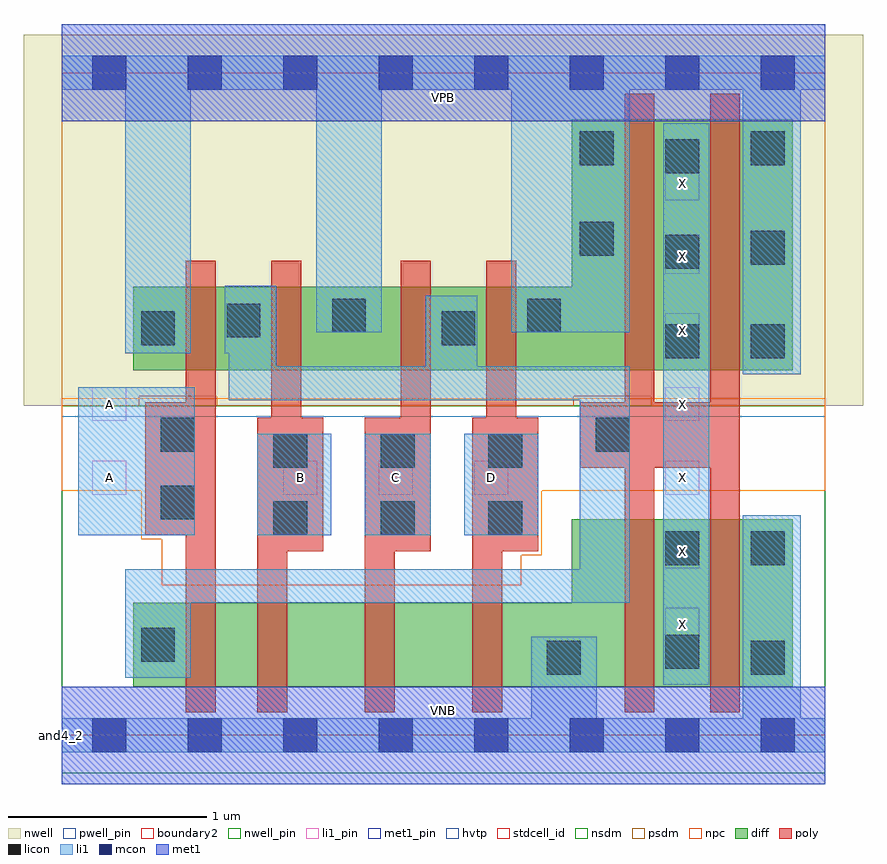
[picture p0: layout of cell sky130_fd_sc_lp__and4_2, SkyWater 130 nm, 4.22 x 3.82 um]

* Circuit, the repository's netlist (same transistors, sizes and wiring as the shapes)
* Copyright 2020 The SkyWater PDK Authors
*
* Licensed under the Apache License, Version 2.0 (the "License");
* you may not use this file except in compliance with the License.
* You may obtain a copy of the License at
*
*     https://www.apache.org/licenses/LICENSE-2.0
*
* Unless required by applicable law or agreed to in writing, software
* distributed under the License is distributed on an "AS IS" BASIS,
* WITHOUT WARRANTIES OR CONDITIONS OF ANY KIND, either express or implied.
* See the License for the specific language governing permissions and
* limitations under the License.
*
* SPDX-License-Identifier: Apache-2.0

.SUBCKT sky130_fd_sc_lp__and4_2 A B C D VGND VNB VPB VPWR X
*.PININFO A:I B:I C:I D:I VGND:I VNB:I VPB:I VPWR:I X:O
MMP0 y A VPWR VPB sky130_fd_pr__pfet_01v8_hvt m=1 w=0.42U l=0.15U mult=1 sa=0.265
+ sb=0.265 sd=0.28 area=0.063 perim=1.14
MMP1 y B VPWR VPB sky130_fd_pr__pfet_01v8_hvt m=1 w=0.42U l=0.15U mult=1 sa=0.265
+ sb=0.265 sd=0.28 area=0.063 perim=1.14
MMP2 y C VPWR VPB sky130_fd_pr__pfet_01v8_hvt m=1 w=0.42U l=0.15U mult=1 sa=0.265
+ sb=0.265 sd=0.28 area=0.063 perim=1.14
MMP3 y D VPWR VPB sky130_fd_pr__pfet_01v8_hvt m=1 w=0.42U l=0.15U mult=1 sa=0.265
+ sb=0.265 sd=0.28 area=0.063 perim=1.14
MMIP0 X y VPWR VPB sky130_fd_pr__pfet_01v8_hvt m=2 w=1.26U l=0.15U mult=1 sa=0.265
+ sb=0.265 sd=0.28 area=0.063 perim=1.14
MMN0 y A sndA VNB sky130_fd_pr__nfet_01v8 m=1 w=0.42U l=0.15U mult=1 sa=0.265 sb=0.265
+ sd=0.28 area=0.063 perim=1.14
MMN1 sndA B sndB VNB sky130_fd_pr__nfet_01v8 m=1 w=0.42U l=0.15U mult=1 sa=0.265
+ sb=0.265 sd=0.28 area=0.063 perim=1.14
MMN2 sndB C sndC VNB sky130_fd_pr__nfet_01v8 m=1 w=0.42U l=0.15U mult=1 sa=0.265
+ sb=0.265 sd=0.28 area=0.063 perim=1.14
MMN3 sndC D VGND VNB sky130_fd_pr__nfet_01v8 m=1 w=0.42U l=0.15U mult=1 sa=0.265
+ sb=0.265 sd=0.28 area=0.063 perim=1.14
MMIN0 X y VGND VNB sky130_fd_pr__nfet_01v8 m=2 w=0.84U l=0.15U mult=1 sa=0.265
+ sb=0.265 sd=0.28 area=0.063 perim=1.14
.ENDS sky130_fd_sc_lp__and4_2

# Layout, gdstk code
import gdstk
lib = gdstk.Library(unit=1e-6, precision=1e-09)
def R(c, l, rs):  # rectangles x0, y0, x1, y1
    for r in rs: c.add(gdstk.rectangle(r[:2], r[2:], *l))
def A(c, l, x, y, w, h, nx, ny, dx, dy):  # array of equal rectangles
    R(c, l, [(x+i*dx, y+j*dy, x+i*dx+w, y+j*dy+h) for i in range(nx) for j in range(ny)])
def P(c, l, *ps):  # polygons
    for p in ps: c.add(gdstk.Polygon(p, *l))
nwell_pin = (64, 16)
nwell = (64, 20)
diff = (65, 20)
poly = (66, 20)
licon = (66, 44)
li1_pin = (67, 16)
li1 = (67, 20)
mcon = (67, 44)
met1_pin = (68, 16)
met1 = (68, 20)
hvtp = (78, 44)
stdcell_id = (81, 4)
nsdm = (93, 44)
psdm = (94, 20)
npc = (95, 20)
pwell_pin = (122, 16)
boundary2 = (236, 0)

sky130_fd_sc_lp__and4_2 = lib.new_cell('sky130_fd_sc_lp__and4_2')
R(sky130_fd_sc_lp__and4_2, nwell_pin, [(0,3.085,3.84,3.33)])
R(sky130_fd_sc_lp__and4_2, nwell, [(-0.19,1.655,4.03,3.52)])
P(sky130_fd_sc_lp__and4_2, diff, [(3.675,3.095),(2.565,3.095),(2.565,2.255),(0.36,2.255),(0.36,1.835),(3.675,1.835)],
  [(3.675,1.085),(2.565,1.085),(2.565,0.665),(0.36,0.665),(0.36,0.245),(3.675,0.245)])
P(sky130_fd_sc_lp__and4_2, poly, [(0.775,2.385),(0.625,2.385),(0.625,1.675),(0.42,1.675),(0.42,1.005),(0.625,1.005),(0.625,0.115),(0.775,0.115)],
  [(1.315,1.595),(1.205,1.595),(1.205,2.385),(1.055,2.385),(1.055,1.595),(0.985,1.595),(0.985,0.115),(1.135,0.115),(1.135,0.925),(1.315,0.925)],
  [(1.855,2.385),(1.705,2.385),(1.705,1.595),(1.525,1.595),(1.525,0.115),(1.675,0.115),(1.675,0.925),(1.855,0.925)],
  [(2.395,1.595),(2.285,1.595),(2.285,2.385),(2.135,2.385),(2.135,1.595),(2.065,1.595),(2.065,0.115),(2.215,0.115),(2.215,0.925),(2.395,0.925)],
  [(3.41,3.225),(3.26,3.225),(3.26,1.675),(2.98,1.675),(2.98,3.225),(2.83,3.225),(2.83,1.675),(2.605,1.675),(2.605,1.345),(2.83,1.345),(2.83,0.115),(2.98,0.115),(2.98,1.345),(3.26,1.345),(3.26,0.115),(3.41,0.115)])
A(sky130_fd_sc_lp__and4_2, licon, 1.065, 1.005, 0.17, 0.17, 3, 2, 0.54, 0.34)
R(sky130_fd_sc_lp__and4_2, licon, [(2.44,0.305,2.61,0.475), (3.465,0.305,3.635,0.475), (3.035,0.335,3.205,0.505), (0.4,0.37,0.57,0.54), (3.035,0.855,3.205,1.025), (3.465,0.855,3.635,1.025), (0.5,1.085,0.67,1.255), (0.5,1.425,0.67,1.595), (2.685,1.425,2.855,1.595), (3.035,1.895,3.205,2.065), (3.465,1.895,3.635,2.065), (0.4,1.96,0.57,2.13), (1.91,1.96,2.08,2.13), (0.83,2,1,2.17), (1.36,2.025,1.53,2.195), (2.34,2.025,2.51,2.195), (3.035,2.345,3.205,2.515), (3.465,2.365,3.635,2.535), (2.605,2.41,2.775,2.58), (3.035,2.825,3.205,2.995), (2.605,2.865,2.775,3.035), (3.465,2.865,3.635,3.035)])
A(sky130_fd_sc_lp__and4_2, li1_pin, 3.035, 0.47, 0.17, 0.17, 1, 7, 0, 0.37)
A(sky130_fd_sc_lp__and4_2, li1_pin, 1.115, 1.21, 0.17, 0.17, 3, 1, 0.48, 0)
R(sky130_fd_sc_lp__and4_2, li1_pin, [(0.155,1.21,0.325,1.38), (0.155,1.58,0.325,1.75)])
R(sky130_fd_sc_lp__and4_2, li1, [(3.025,0.255,3.255,3.075), (0.085,1.005,0.67,1.75), (0.985,1.005,1.355,1.515), (1.525,1.005,1.855,1.515), (2.025,1.005,2.395,1.515)])
P(sky130_fd_sc_lp__and4_2, li1, [(2.26,2.025),(2.26,3.245),(1.61,3.245),(1.61,2.025),(1.28,2.025),(1.28,3.245),(0.65,3.245),(0.65,1.92),(0.32,1.92),(0.32,3.245),(0,3.245),(0,3.415),(3.84,3.415),(3.84,3.245),(3.715,3.245),(3.715,1.815),(3.425,1.815),(3.425,3.245),(2.855,3.245),(2.855,2.025)],
  [(3.425,0.085),(3.425,1.105),(3.715,1.105),(3.715,0.085),(3.84,0.085),(3.84,-0.085),(0,-0.085),(0,0.085),(2.36,0.085),(2.36,0.495),(2.69,0.495),(2.69,0.085)],
  [(2.09,1.855),(2.855,1.855),(2.855,0.665),(0.65,0.665),(0.65,0.29),(0.32,0.29),(0.32,0.835),(2.605,0.835),(2.605,1.685),(0.84,1.685),(0.84,1.92),(0.82,1.92),(0.82,2.26),(1.08,2.26),(1.08,1.855),(1.83,1.855),(1.83,2.21),(2.09,2.21)])
A(sky130_fd_sc_lp__and4_2, mcon, 0.155, -0.085, 0.17, 0.17, 8, 2, 0.48, 3.33)
R(sky130_fd_sc_lp__and4_2, met1_pin, [(0,0,3.84,0.245), (0,3.085,3.84,3.33)])
R(sky130_fd_sc_lp__and4_2, met1, [(0,-0.245,3.84,0.245), (0,3.085,3.84,3.575)])
R(sky130_fd_sc_lp__and4_2, hvtp, [(0,1.6,3.84,3.33)])
R(sky130_fd_sc_lp__and4_2, stdcell_id, [(0,0,3.84,3.33)])
R(sky130_fd_sc_lp__and4_2, nsdm, [(0,-0.19,3.84,1.655)])
P(sky130_fd_sc_lp__and4_2, psdm, [(3.84,3.52),(0,3.52),(0,1.655),(0.39,1.655),(0.39,1.705),(0.78,1.705),(0.78,1.655),(2.575,1.655),(2.575,1.705),(2.965,1.705),(2.965,1.655),(3.84,1.655)])
P(sky130_fd_sc_lp__and4_2, npc, [(3.84,1.695),(0,1.695),(0,1.23),(0.4,1.23),(0.4,0.985),(0.505,0.985),(0.505,0.755),(2.31,0.755),(2.31,0.905),(2.415,0.905),(2.415,1.23),(3.84,1.23)])
R(sky130_fd_sc_lp__and4_2, pwell_pin, [(0,0,3.84,0.245)])
R(sky130_fd_sc_lp__and4_2, boundary2, [(0,0,3.84,3.33)])
sky130_fd_sc_lp__and4_2.add(gdstk.Label('VNB', (1.92,0.123), layer=64, texttype=59))
sky130_fd_sc_lp__and4_2.add(gdstk.Label('VPB', (1.92,3.208), layer=64, texttype=5))
sky130_fd_sc_lp__and4_2.add(gdstk.Label('and4_2', (0,0), layer=83, texttype=44))
sky130_fd_sc_lp__and4_2.add(gdstk.Label('VPWR', (1.92,3.208), layer=68, texttype=5))
sky130_fd_sc_lp__and4_2.add(gdstk.Label('VGND', (1.92,0.123), layer=68, texttype=5))
sky130_fd_sc_lp__and4_2.add(gdstk.Label('X', (3.12,0.555), layer=67, texttype=5))
sky130_fd_sc_lp__and4_2.add(gdstk.Label('X', (3.12,0.925), layer=67, texttype=5))
sky130_fd_sc_lp__and4_2.add(gdstk.Label('X', (3.12,1.295), layer=67, texttype=5))
sky130_fd_sc_lp__and4_2.add(gdstk.Label('X', (3.12,1.665), layer=67, texttype=5))
sky130_fd_sc_lp__and4_2.add(gdstk.Label('X', (3.12,2.035), layer=67, texttype=5))
sky130_fd_sc_lp__and4_2.add(gdstk.Label('X', (3.12,2.405), layer=67, texttype=5))
sky130_fd_sc_lp__and4_2.add(gdstk.Label('X', (3.12,2.775), layer=67, texttype=5))
sky130_fd_sc_lp__and4_2.add(gdstk.Label('A', (0.24,1.295), layer=67, texttype=5))
sky130_fd_sc_lp__and4_2.add(gdstk.Label('A', (0.24,1.665), layer=67, texttype=5))
sky130_fd_sc_lp__and4_2.add(gdstk.Label('B', (1.2,1.295), layer=67, texttype=5))
sky130_fd_sc_lp__and4_2.add(gdstk.Label('C', (1.68,1.295), layer=67, texttype=5))
sky130_fd_sc_lp__and4_2.add(gdstk.Label('D', (2.16,1.295), layer=67, texttype=5))

lib.write_gds('sky130_fd_sc_lp__and4_2.gds')
